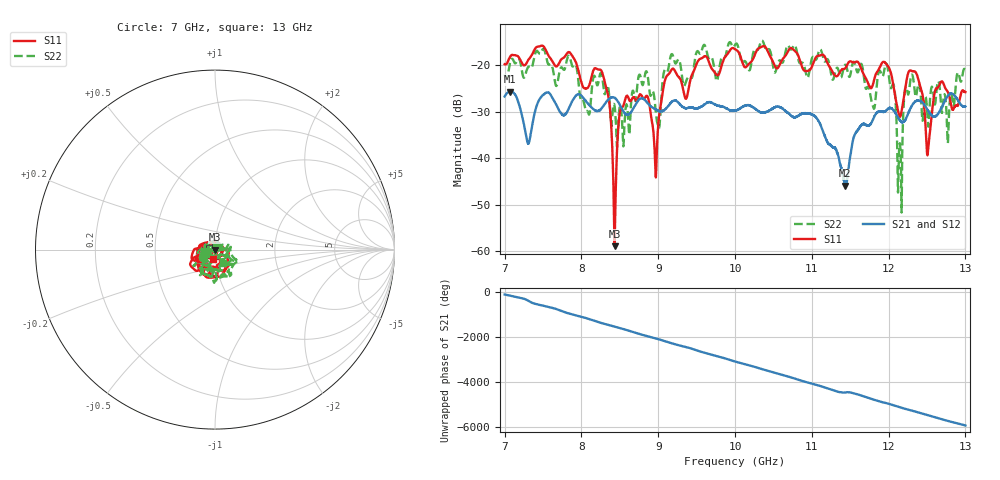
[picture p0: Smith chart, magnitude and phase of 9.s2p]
[Version] 2.0
! Rohde & Schwarz Vector Network Analyzer
! Rohde-Schwarz,ZNL20-2Port,1323001220200009,1.71.1.10-23.02.1.238
! Port Assignments:
! Nominal Port -> Actual Test Port
!  1 -> 1
!  2 -> 2
! Created: GMT+3 2024-09-24 15:10:45
# Hz S DB R 50
[Number of Ports] 2
[Two-Port Data Order] 21_12
! freq[Hz]  S11[mag dB]  S11[ang]  S21[mag dB]  S21[ang]  S12[mag dB]  S12[ang]  S22[mag dB]  S22[ang]
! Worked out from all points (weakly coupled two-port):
!   6001 points, 7 GHz to 13 GHz, reference 50 ohm
!   highest |S21| = -25.62 dB at 7.072 GHz (marker M1); lowest = -45.9 dB at 11.44 GHz (marker M2)
!   lowest |S11| = -58.9 dB at 8.432 GHz (marker M3), VSWR 1.00, Z = 50.1 - j0.024 ohm
!   |S11| at or under -10 dB: start of sweep to end of sweep
!   |S22| runs from -51.6 to -14.6 dB; largest |S21 - S12| = 0.00071
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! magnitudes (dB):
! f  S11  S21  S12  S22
! 7 GHz  -19.8  -26.7  -26.7  -22.0
! 7.072 GHz  -18.1  -25.6  -25.6  -19.4
! 7.307 GHz  -18.9  -36.8  -36.7  -20.4
! 7.513 GHz  -16.0  -26.2  -26.2  -16.5
! 7.839 GHz  -17.1  -29.2  -29.2  -18.0
! 8 GHz  -23.7  -26.5  -26.5  -27.4
! 8.285 GHz  -22.3  -28.8  -28.8  -24.3
! 8.432 GHz  -58.9  -27.0  -26.9  -28.7
! 8.497 GHz  -30.6  -28.4  -28.4  -29.0
! 8.582 GHz  -26.7  -30.5  -30.6  -28.6
! 8.843 GHz  -26.6  -27.7  -27.7  -21.3
! 9 GHz  -32.8  -29.8  -29.7  -33.2
! 9.174 GHz  -20.9  -27.9  -27.9  -17.6
! 10 GHz  -16.5  -29.7  -29.7  -15.6
! 11 GHz  -20.3  -30.5  -30.5  -18.6
! 11.44 GHz  -20.6  -45.9  -45.5  -19.9
! 12 GHz  -20.4  -29.2  -29.2  -21.9
! 12.15 GHz  -31.0  -31.8  -31.7  -36.8
! 12.3 GHz  -21.2  -28.8  -28.8  -22.0
! 12.51 GHz  -38.5  -29.7  -29.7  -32.8
! 12.67 GHz  -24.0  -29.8  -29.8  -25.2
! 13 GHz  -25.7  -28.8  -28.8  -21.4
